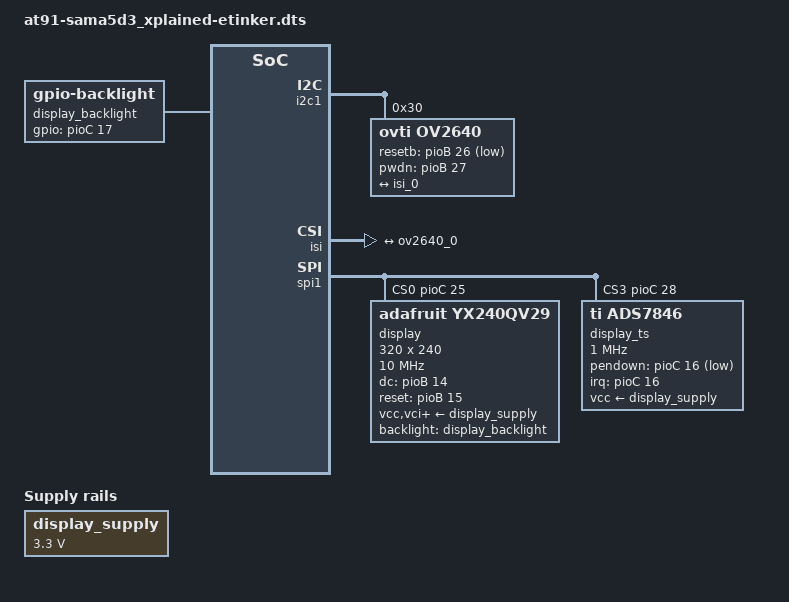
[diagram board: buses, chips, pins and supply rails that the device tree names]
// SPDX-License-Identifier: GPL-2.0-or-later
/*
 * at91-sama5d3_xplained-etintker.dts - Device Tree file for the SAMA5D3 Xplained board
 *
 *  Copyright (C) 2024, Derald D. Woods <woods.technical@gmail.com>
 */

/dts-v1/;

#include "at91-sama5d3_xplained.dts"

/ {
	display_backlight: ili9341_led {
		status = "okay";
		compatible = "gpio-backlight";
		gpios = <&pioC 17 GPIO_ACTIVE_HIGH>;
/*
		pinctrl-names = "default";
		pinctrl-0 = <&pinctrl_display_backlight>;
*/
	};

	display_supply: fixed-3v3 {
		status = "okay";
		compatible = "regulator-fixed";
		regulator-name = "fixed-supply";
		regulator-min-microvolt = <3300000>;
		regulator-max-microvolt = <3300000>;
	};
};

&adc0 {
	status = "disabled";
};

&uart0 {
	status = "disabled";
};

&usart1 {
	status = "disabled";
};

&can0 {
	status = "disabled";
};

&pwm0 {
	status = "disabled";
};

&i2c0 {
	status = "disabled";
};

&i2c1 {
	status = "okay";

	/* see "arch/arm/boot/dts/microchip/sama5d3xmb{_cmp}.dtsi" */
	ov2640: camera@30 {
		status = "okay";
		compatible = "ovti,ov2640";
		reg = <0x30>;
		pinctrl-names = "default";
		pinctrl-0 = <&pinctrl_pck1_as_isi_mck &pinctrl_sensor_power &pinctrl_sensor_reset>;
		resetb-gpios = <&pioB 26 GPIO_ACTIVE_LOW>;
		pwdn-gpios = <&pioB 27 GPIO_ACTIVE_HIGH>;
		/* use pck1 for the master clock of ov2640 */
		clocks = <&pmc PMC_TYPE_SYSTEM 9>;
		clock-names = "xvclk";
		assigned-clocks = <&pmc PMC_TYPE_SYSTEM 9>;
		assigned-clock-rates = <25000000>;

		port {
			ov2640_0: endpoint {
				remote-endpoint = <&isi_0>;
				bus-width = <8>;
			};
		};
	};
};

&i2c2 {
	status = "disabled";
};

&isi {
	status = "okay";

	port {
		isi_0: endpoint {
			remote-endpoint = <&ov2640_0>;
			bus-width = <8>;
			vsync-active = <1>;
			hsync-active = <1>;
		};
	};
};

&spi1 {
	status = "okay";
	pinctrl-names = "cs";
	pinctrl-1 = <&pinctrl_spi1_cs &pinctrl_spi1_cs3>;
	cs-gpios = <&pioC 25 0>, <0>, <0>, <&pioC 28 0>;

	display: ili9341@0 {
		status = "okay";
		compatible = "adafruit,yx240qv29", "ilitek,ili9341";
		reg = <0>;
		bgr;
		fps = <10>;
		width = <320>;
		height = <240>;
		rotation = <270>;
		buswidth = <8>;
		dc-gpios = <&pioB 14 GPIO_ACTIVE_HIGH>;
		reset-gpios = <&pioB 15 GPIO_ACTIVE_HIGH>;
		backlight = <&display_backlight>;
		vcc-supply = <&display_supply>;
		vci-supply = <&display_supply>;
		vddi-supply = <&display_supply>;
		vddi-led-supply = <&display_supply>;
		spi-max-frequency = <10000000>;
		debug = <3>;
		pinctrl-names = "default";
		pinctrl-0 = <&pinctrl_display_reset &pinctrl_display_dc>;
	};

	display_ts: tsc2046@3 {
		status = "okay";
		compatible = "ti,ads7846";
		reg = <3>;
		pendown-gpio = <&pioC 16 GPIO_ACTIVE_LOW>;
		interrupts-extended = <&pioC 16 IRQ_TYPE_EDGE_BOTH>;
		ti,swap-xy;
		ti,x-min = /bits/ 16 <0>;
		ti,x-max = /bits/ 16 <8000>;
		ti,y-min = /bits/ 16 <0>;
		ti,y-max = /bits/ 16 <4800>;
		ti,x-plate-ohms = /bits/ 16 <40>;
		ti,pressure-max = /bits/ 16 <255>;
		wakeup-source;
		vcc-supply = <&display_supply>;
		spi-max-frequency = <1000000>;
		pinctrl-names = "default";
		pinctrl-0 = <&pinctrl_display_ts>;
	};
};

&pinctrl {
	board {
		status = "okay";
		pinctrl_pck1_as_isi_mck: pck1_as_isi_mck-0 {
			atmel,pins =
				<AT91_PIOD 31 AT91_PERIPH_B AT91_PINCTRL_NONE>;	/* PD31 periph B PCK1(ISI_MCK), conflicts with AD11 */
		};

		pinctrl_sensor_reset: sensor_reset-0 {
			atmel,pins =
				<AT91_PIOB 26 AT91_PERIPH_GPIO AT91_PINCTRL_NONE>; /* PB26 periph GPIO */
		};

		pinctrl_sensor_power: sensor_power-0 {
			atmel,pins =
				<AT91_PIOB 27 AT91_PERIPH_GPIO AT91_PINCTRL_NONE>; /* PB27 periph GPIO */
		};

		pinctrl_spi1_cs3: spi1_cs3-1 {
			atmel,pins =
				<AT91_PIOC 28 AT91_PERIPH_GPIO AT91_PINCTRL_NONE>;
		};

		pinctrl_display_backlight: display_backlight-0 {
			atmel,pins =
				<AT91_PIOC 17 AT91_PERIPH_GPIO AT91_PINCTRL_NONE>; /* PC17 periph GPIO */
		};

		pinctrl_display_reset: display_reset-0 {
			atmel,pins =
				<AT91_PIOB 15 AT91_PERIPH_GPIO AT91_PINCTRL_NONE>; /* PB15 periph GPIO */
		};

		pinctrl_display_dc: display_dc-0 {
			atmel,pins =
				<AT91_PIOB 14 AT91_PERIPH_GPIO AT91_PINCTRL_NONE>; /* PB14 periph GPIO */
		};

		pinctrl_display_ts: display_ts-0 {
			atmel,pins =
				<AT91_PIOC 16 AT91_PERIPH_GPIO AT91_PINCTRL_NONE>; /* PC16 periph GPIO */
		};
	};
};
